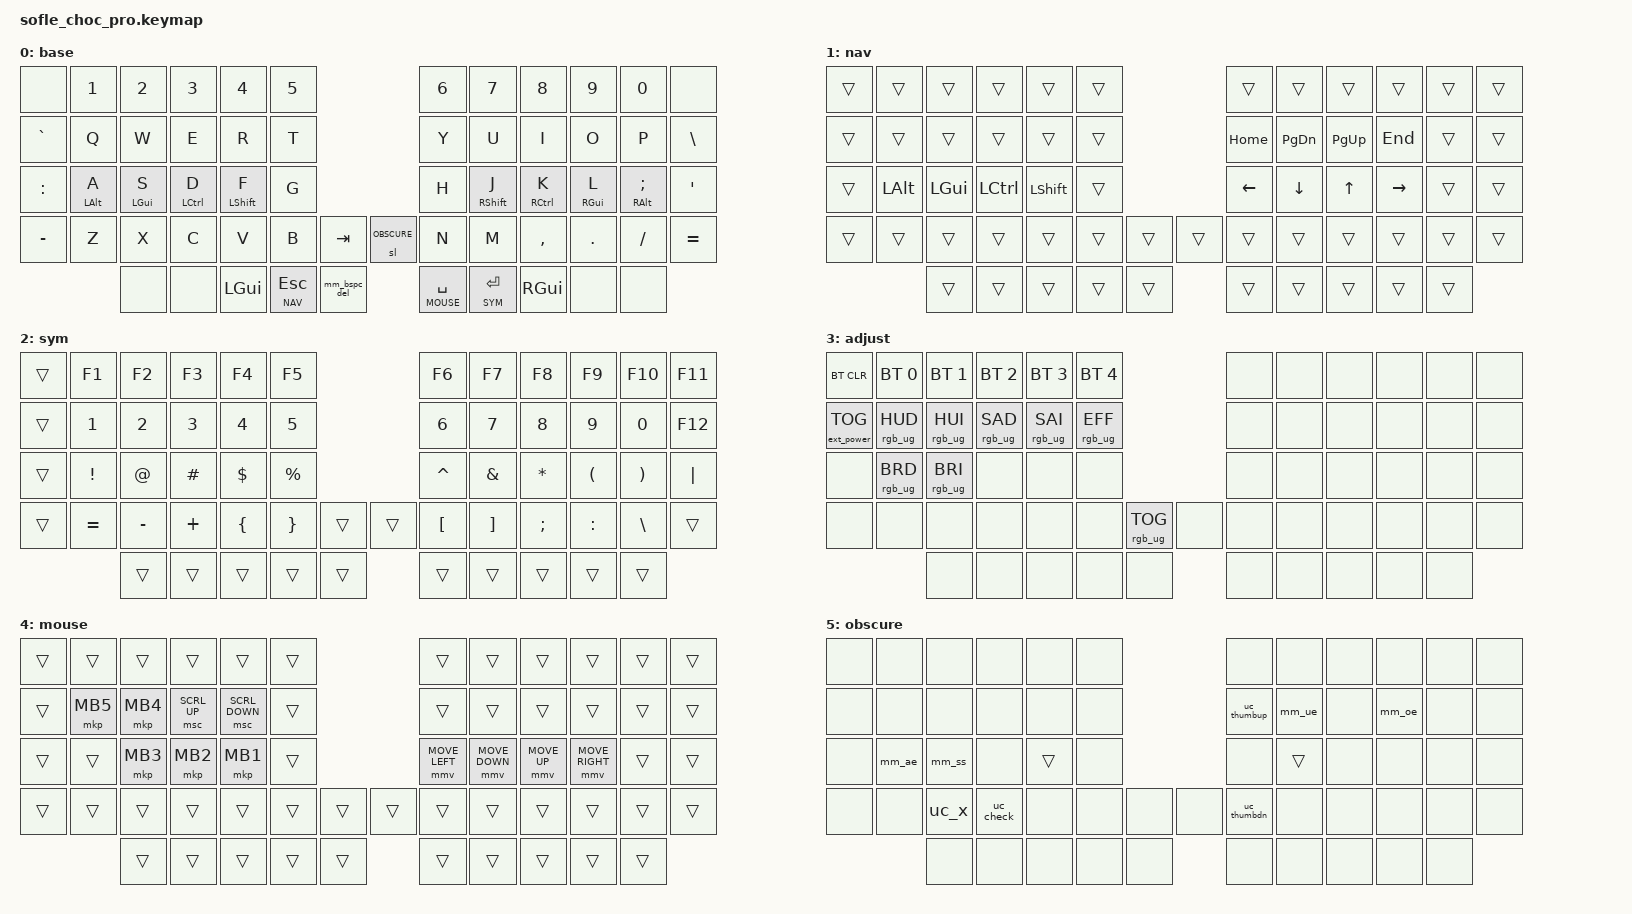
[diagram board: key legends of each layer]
/*
* Copyright (c) 2020 The ZMK Contributors
*
* SPDX-License-Identifier: MIT
*/

#include <behaviors.dtsi>
#include <dt-bindings/zmk/keys.h>
#include <dt-bindings/zmk/bt.h>
#include <dt-bindings/zmk/rgb.h>
#include <dt-bindings/zmk/ext_power.h>
#include <dt-bindings/zmk/pointing.h>

#define BASE 0
#define NAV 1
#define SYM 2
#define ADJUST 3
#define MOUSE 4
#define OBSCURE 5

#define KEYS_L 0 1 2 3 4 5 12 13 14 15 16 17 24 25 26 27 28 29 36 37 38 39 40 41 42
#define KEYS_R 6 7 8 9 10 11 18 19 20 21 22 23 30 31 32 33 34 35 43 44 45 46 47 48 49
#define THUMBS 50 51 52 53 54 55 56 57 58 59

/ {
    combos {
        compatible = "zmk,combos";
        combo_caps_word {
            timeout-ms = <50>;
            key-positions = <17 18>;
            bindings = <&caps_word>;
        };
    };

    macros {
        uc_ae: uc_ae {
            compatible = "zmk,behavior-macro";
            #binding-cells = <0>;
            wait-ms = <10>;
            tap-ms = <10>;
            bindings = <&macro_tap &kp LC(LS(U)) &kp E &kp N4 &kp SPACE>;
        };
        uc_upper_ae: uc_upper_ae {
            compatible = "zmk,behavior-macro";
            #binding-cells = <0>;
            wait-ms = <10>;
            tap-ms = <10>;
            bindings = <&macro_tap &kp LC(LS(U)) &kp C &kp N4 &kp SPACE>;
        };
        uc_oe: uc_oe {
            compatible = "zmk,behavior-macro";
            #binding-cells = <0>;
            wait-ms = <10>;
            tap-ms = <10>;
            bindings = <&macro_tap &kp LC(LS(U)) &kp F &kp N6 &kp SPACE>;
        };
        uc_upper_oe: uc_upper_oe {
            compatible = "zmk,behavior-macro";
            #binding-cells = <0>;
            wait-ms = <10>;
            tap-ms = <10>;
            bindings = <&macro_tap &kp LC(LS(U)) &kp D &kp N6 &kp SPACE>;
        };
        uc_ue: uc_ue {
            compatible = "zmk,behavior-macro";
            #binding-cells = <0>;
            wait-ms = <10>;
            tap-ms = <10>;
            bindings = <&macro_tap &kp LC(LS(U)) &kp F &kp C &kp SPACE>;
        };
        uc_upper_ue: uc_upper_ue {
            compatible = "zmk,behavior-macro";
            #binding-cells = <0>;
            wait-ms = <10>;
            tap-ms = <10>;
            bindings = <&macro_tap &kp LC(LS(U)) &kp D &kp C &kp SPACE>;
        };
        uc_ss: uc_ss {
            compatible = "zmk,behavior-macro";
            #binding-cells = <0>;
            wait-ms = <10>;
            tap-ms = <10>;
            bindings = <&macro_tap &kp LC(LS(U)) &kp D &kp F &kp SPACE>;
        };
        uc_upper_ss: uc_upper_ss {
            compatible = "zmk,behavior-macro";
            #binding-cells = <0>;
            wait-ms = <10>;
            tap-ms = <10>;
            bindings = <&macro_tap &kp LC(LS(U)) &kp N1 &kp E &kp N9 &kp E &kp SPACE>;
        };
        uc_check: uc_check {
            compatible = "zmk,behavior-macro";
            #binding-cells = <0>;
            wait-ms = <10>;
            tap-ms = <10>;
            bindings = <&macro_tap &kp LC(LS(U)) &kp N2 &kp N7 &kp N0 &kp N5 &kp SPACE>;
        };
        uc_x: uc_x {
            compatible = "zmk,behavior-macro";
            #binding-cells = <0>;
            wait-ms = <10>;
            tap-ms = <10>;
            bindings = <&macro_tap &kp LC(LS(U)) &kp N2 &kp N7 &kp N4 &kp C &kp SPACE>;
        };
        uc_thumbup: uc_thumbup {
            compatible = "zmk,behavior-macro";
            #binding-cells = <0>;
            wait-ms = <10>;
            tap-ms = <10>;
            bindings = <&macro_tap &kp LC(LS(U)) &kp N1 &kp F &kp N4 &kp N4 &kp D &kp SPACE>;
        };
        uc_thumbdn: uc_thumbdn {
            compatible = "zmk,behavior-macro";
            #binding-cells = <0>;
            wait-ms = <10>;
            tap-ms = <10>;
            bindings = <&macro_tap &kp LC(LS(U)) &kp N1 &kp F &kp N4 &kp N4 &kp E &kp SPACE>;
        };
    };

    behaviors {
        hml: home_row_mod_left {
            compatible = "zmk,behavior-hold-tap";
            #binding-cells = <2>;
            flavor = "balanced";
            require-prior-idle-ms = <200>;
            tapping-term-ms = <280>;
            quick-tap-ms = <175>;
            bindings = <&kp>, <&kp>;
            hold-trigger-key-positions = <KEYS_R THUMBS>;
            hold-trigger-on-release;
        };
        hmr: home_row_mod_right {
            compatible = "zmk,behavior-hold-tap";
            #binding-cells = <2>;
            flavor = "balanced";
            require-prior-idle-ms = <200>;
            tapping-term-ms = <280>;
            quick-tap-ms = <175>;
            bindings = <&kp>, <&kp>;
            hold-trigger-key-positions = <KEYS_L THUMBS>;
            hold-trigger-on-release;
        };
        mm_ae: mm_ae {
            compatible = "zmk,behavior-mod-morph";
            #binding-cells = <0>;
            bindings = <&uc_ae>, <&uc_upper_ae>;
            mods = <(MOD_LSFT|MOD_RSFT)>;
        };
        mm_oe: mm_oe {
            compatible = "zmk,behavior-mod-morph";
            #binding-cells = <0>;
            bindings = <&uc_oe>, <&uc_upper_oe>;
            mods = <(MOD_LSFT|MOD_RSFT)>;
        };
        mm_ue: mm_ue {
            compatible = "zmk,behavior-mod-morph";
            #binding-cells = <0>;
            bindings = <&uc_ue>, <&uc_upper_ue>;
            mods = <(MOD_LSFT|MOD_RSFT)>;
        };
        mm_ss: mm_ss {
            compatible = "zmk,behavior-mod-morph";
            #binding-cells = <0>;
            bindings = <&uc_ss>, <&uc_upper_ss>;
            mods = <(MOD_LSFT|MOD_RSFT)>;
        };
        mm_bspc_del: mm_bspc_del {
            compatible = "zmk,behavior-mod-morph";
            #binding-cells = <0>;
            bindings = <&kp BSPC>, <&kp DEL>;
            mods = <(MOD_LSFT|MOD_RSFT)>;
        };
    };

    conditional_layers {
        compatible = "zmk,conditional-layers";
        adjust_layer {
            if-layers = <NAV SYM>;
            then-layer = <ADJUST>;
        };
    };

    keymap {
        compatible = "zmk,keymap";

        base_layer {
            display-name = "base";
            // ------------------------------------------------------------------------------------------------------------
            // | NONE  |  1  |  2  |  3   |  4   |  5   |                   |  6   |  7    |  8    |  9   |   0   | NONE  |
            // | GRAVE |  Q  |  W  |  E   |  R   |  T   |                   |  Y   |  U    |  I    |  O   |   P   |   \   |
            // |   :   |  A  |  S  |  D   |  F   |  G   |                   |  H   |  J    |  K    |  L   |   ;   |   '   |
            // | MINUS |  Z  |  X  |  C   |  V   |  B   |  TAB  |  | SL(OB)|  N   |  M    |  ,    |  .   |   /   | EQUAL |
            //               | NONE| NONE | GUI  |NAV/ESC| BSPC/DEL |  | MOUSE/SPC|SYM/RET|  GUI  | NONE | NONE  |
            bindings = <
&none      &kp N1       &kp N2       &kp N3        &kp N4        &kp N5                             &kp N6   &kp N7        &kp N8        &kp N9       &kp N0          &none
&kp GRAVE  &kp Q        &kp W        &kp E         &kp R         &kp T                              &kp Y    &kp U         &kp I         &kp O        &kp P           &kp BSLH
&kp COLON  &hml LALT A  &hml LGUI S  &hml LCTRL D  &hml LSHFT F  &kp G                              &kp H    &hmr RSHFT J  &hmr RCTRL K  &hmr RGUI L  &hmr RALT SEMI  &kp SQT
&kp MINUS  &kp Z        &kp X        &kp C         &kp V         &kp B    &kp TAB       &sl OBSCURE &kp N    &kp M         &kp COMMA     &kp DOT      &kp FSLH        &kp EQUAL
                        &none        &none         &kp LGUI      &lt NAV ESC  &mm_bspc_del  &lt MOUSE SPACE  &lt SYM RET  &kp RGUI      &none         &none
            >;
        };

        nav_layer {
            display-name = "nav";
            // ------------------------------------------------------------------------------------------------------------
            // |       |     |     |      |      |      |                   |      |       |       |      |       |       |
            // |       |     |     |      |      |      |                   | HOME | PG_DN | PG_UP | END  |       |       |
            // |       | ALT | GUI | CTRL | SHIFT|      |                   | LEFT | DOWN  |  UP   | RIGHT|       |       |
            // |       |     |     |      |      |      |        |  |       |      |       |       |      |       |       |
            //               |     |      |      |      |        |  |       |      |       |       |      |
            bindings = <
&trans    &trans    &trans    &trans     &trans     &trans                      &trans    &trans    &trans    &trans     &trans  &trans
&trans    &trans    &trans    &trans     &trans     &trans                      &kp HOME  &kp PG_DN &kp PG_UP &kp END    &trans  &trans
&trans    &kp LALT  &kp LGUI  &kp LCTRL  &kp LSHFT  &trans                      &kp LEFT  &kp DOWN  &kp UP    &kp RIGHT  &trans  &trans
&trans    &trans    &trans    &trans     &trans     &trans    &trans   &trans   &trans    &trans    &trans    &trans     &trans  &trans
                    &trans    &trans     &trans     &trans    &trans   &trans   &trans    &trans    &trans    &trans
            >;
        };

        sym_layer {
            display-name = "sym";
            // ------------------------------------------------------------------------------------------------------------
            // |       |  F1 |  F2 |  F3  |  F4  |  F5  |                   |  F6  |  F7   |  F8   |  F9  |  F10  |  F11  |
            // |       |  1  |  2  |  3   |  4   |  5   |                   |  6   |  7    |  8    |  9   |   0   |  F12  |
            // |       |  !  |  @  |  #   |  $   |  %   |                   |  ^   |  &    |  *    |  (   |   )   |   |   |
            // |       |  =  |  -  |  +   |  {   |  }   |        |  |       |  [   |  ]    |  ;    |  :   |   \   |       |
            //               |     |      |      |      |        |  |       |      |       |       |      |
            bindings = <
&trans    &kp F1    &kp F2    &kp F3     &kp F4    &kp F5                    &kp F6    &kp F7    &kp F8     &kp F9    &kp F10   &kp F11
&trans    &kp N1    &kp N2    &kp N3     &kp N4    &kp N5                    &kp N6    &kp N7    &kp N8     &kp N9    &kp N0    &kp F12
&trans    &kp EXCL  &kp AT    &kp HASH   &kp DLLR  &kp PRCNT                 &kp CARET &kp AMPS  &kp ASTRK  &kp LPAR  &kp RPAR  &kp PIPE
&trans    &kp EQUAL &kp MINUS &kp PLUS   &kp LBRC  &kp RBRC   &trans &trans  &kp LBKT  &kp RBKT  &kp SEMI   &kp COLON &kp BSLH  &trans
                    &trans    &trans     &trans    &trans     &trans &trans  &trans    &trans    &trans     &trans
            >;
        };

        adjust_layer {
            display-name = "adjust";
            // ----------------------------------------------------------------------------------------------------------------------------
            // | BTCLR  |  BT1    |  BT2    |   BT3   |   BT4   |   BT5   |                  |      |      |       |      |       |       |
            // | EXTPWR | RGB_HUD | RGB_HUI | RGB_SAD | RGB_SAI | RGB_EFF |                  |      |      |       |      |       |       |
            // |        | RGB_BRD | RGB_BRI |         |         |         |                  |      |      |       |      |       |       |
            // |        |         |         |         |         |         | RGB_TOG | |      |      |      |       |      |       |       |
            //                    |         |         |         |         |         | |      |      |      |       |      |
            bindings = <
&bt BT_CLR        &bt BT_SEL 0    &bt BT_SEL 1    &bt BT_SEL 2    &bt BT_SEL 3    &bt BT_SEL 4                            &none &none &none &none &none &none
&ext_power EP_TOG &rgb_ug RGB_HUD &rgb_ug RGB_HUI &rgb_ug RGB_SAD &rgb_ug RGB_SAI &rgb_ug RGB_EFF                         &none &none &none &none &none &none
&none             &rgb_ug RGB_BRD &rgb_ug RGB_BRI &none           &none           &none                                   &none &none &none &none &none &none
&none             &none           &none           &none           &none           &none            &rgb_ug RGB_TOG &none  &none &none &none &none &none &none
                                  &none           &none           &none           &none            &none           &none  &none &none &none &none
            >;
        };

        mouse_layer {
            display-name = "mouse";
            // ------------------------------------------------------------------------------------------------------------
            // |       |     |     |     |     |      |                   |      |       |       |      |       |       |
            // |       | FWD | BACK|SCR_U|SCR_D|      |                   |      |       |       |      |       |       |
            // |       |     | MCLK| RCLK| LCLK|      |                   | LEFT | DOWN  |  UP   | RIGHT|       |       |
            // |       |     |     |     |     |      |        |  |       |      |       |       |      |       |       |
            //               |     |     |     |      |        |  |       |      |       |       |      |
            bindings = <
&trans    &trans    &trans    &trans        &trans          &trans                      &trans         &trans          &trans          &trans           &trans  &trans
&trans    &mkp MB5  &mkp MB4  &msc SCRL_UP  &msc SCRL_DOWN  &trans                      &trans         &trans          &trans          &trans           &trans  &trans
&trans    &trans    &mkp MB3  &mkp MB2      &mkp MB1        &trans                      &mmv MOVE_LEFT &mmv MOVE_DOWN  &mmv MOVE_UP    &mmv MOVE_RIGHT  &trans  &trans
&trans    &trans    &trans    &trans        &trans          &trans    &trans   &trans   &trans         &trans          &trans          &trans           &trans  &trans
                    &trans    &trans        &trans          &trans    &trans   &trans   &trans         &trans          &trans          &trans
            >;
        };

        obscure_layer {
            display-name = "obscure";
            // ------------------------------------------------------------------------------------------------------------
            // |       |     |     |      |      |      |                   |      |       |       |      |       |       |
            // |       |     |     |      |      |      |                   |  👍  |  ü/Ü  |       |  ö/Ö |       |       |
            // |       | ä/Ä | ß/ẞ |      | SHFT |      |                   |      | SHFT  |       |      |       |       |
            // |       |     |  ❌ |  ✅  |      |      |        |  |       |  👎  |       |       |      |       |       |
            //               |     |      |      |      |        |  |       |      |       |       |      |
            bindings = <
&none     &none     &none     &none      &none      &none                       &none       &none     &none     &none     &none   &none
&none     &none     &none     &none      &none      &none                       &uc_thumbup &mm_ue    &none     &mm_oe    &none   &none
&none     &mm_ae    &mm_ss    &none      &trans     &none                       &none       &trans    &none     &none     &none   &none
&none     &none     &uc_x     &uc_check  &none      &none     &none    &none    &uc_thumbdn &none     &none     &none     &none   &none
                    &none     &none      &none      &none     &none    &none    &none       &none     &none     &none
            >;
        };
    };
};
